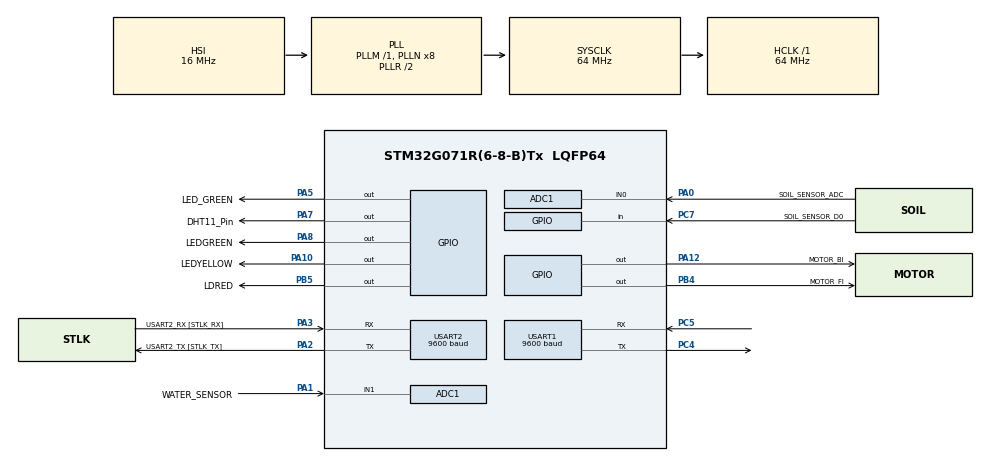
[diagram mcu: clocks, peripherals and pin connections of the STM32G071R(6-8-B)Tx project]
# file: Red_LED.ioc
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ADC1.Channel-0\#ChannelRegularConversion=ADC_CHANNEL_0
ADC1.Channel-1\#ChannelRegularConversion=ADC_CHANNEL_1
ADC1.ContinuousConvMode=ENABLE
ADC1.NbrOfConversion=2
ADC1.NbrOfConversionFlag=1
ADC1.Rank-0\#ChannelRegularConversion=1
ADC1.Rank-1\#ChannelRegularConversion=2
ADC1.SamplingTime-0\#ChannelRegularConversion=ADC_SAMPLINGTIME_COMMON_1
ADC1.SamplingTime-1\#ChannelRegularConversion=ADC_SAMPLINGTIME_COMMON_1
ADC1.SamplingTimeCommon1=ADC_SAMPLETIME_19CYCLES_5
ADC1.SamplingTimeCommon2=ADC_SAMPLETIME_19CYCLES_5
ADC1.SelectedChannel=ADC_CHANNEL_0|ADC_CHANNEL_1
ADC1.master=1
FREERTOS.BinarySemaphores01=DataReadySem,Dynamic,NULL,Available
FREERTOS.Mutexes01=DataMutex,Dynamic,NULL,Available;UARTMutex,Dynamic,NULL,Available
FREERTOS.Queues01=MsgQueue,5,100,1,Dynamic,NULL,NULL
FREERTOS.Tasks01=SenzoriTask,40,256,StartSenzoriTask,Default,NULL,Dynamic,NULL,NULL;ComTask,24,256,StartComTask,Default,NULL,Dynamic,NULL,NULL
FREERTOS.configTOTAL_HEAP_SIZE=4096
Mcu.Family=STM32G0
Mcu.Name=STM32G071R(6-8-B)Tx
Mcu.Package=LQFP64
PA0.GPIO_Label=SOIL_SENSOR_ADC
PA0.Mode=IN0
PA0.Signal=ADC1_IN0
PA1.GPIO_Label=WATER_SENSOR
PA1.Mode=IN1
PA1.Signal=ADC1_IN1
PA10.GPIO_Label=LEDYELLOW
PA10.GPIO_Speed=GPIO_SPEED_FREQ_MEDIUM
PA10.Signal=GPIO_Output
PA12\ [PA10].GPIO_Label=MOTOR_BI
PA12\ [PA10].Signal=GPIO_Output
PA13.GPIO_Label=TMS
PA13.Mode=Serial_Wire
PA13.Signal=SYS_SWDIO
PA14-BOOT0.GPIO_Label=TCK
PA14-BOOT0.Mode=Serial_Wire
PA14-BOOT0.Signal=SYS_SWCLK
PA2.GPIO_Label=USART2_TX [STLK_TX]
PA2.GPIO_PuPd=GPIO_PULLUP
PA2.Mode=Asynchronous
PA2.Signal=USART2_TX
PA3.GPIO_Label=USART2_RX [STLK_RX]
PA3.GPIO_PuPd=GPIO_PULLUP
PA3.Mode=Asynchronous
PA3.Signal=USART2_RX
PA5.GPIO_Label=LED_GREEN
PA5.GPIO_Speed=GPIO_SPEED_FREQ_HIGH
PA5.Signal=GPIO_Output
PA7.GPIO_Label=DHT11_Pin
PA7.Signal=GPIO_Output
PA8.GPIO_Label=LEDGREEN
PA8.GPIO_Speed=GPIO_SPEED_FREQ_MEDIUM
PA8.Signal=GPIO_Output
PB4.GPIO_Label=MOTOR_FI
PB4.Signal=GPIO_Output
PB5.GPIO_Label=LDRED
PB5.GPIO_Speed=GPIO_SPEED_FREQ_MEDIUM
PB5.Signal=GPIO_Output
PC13.Mode=SYS_WakeUp1
PC13.Signal=SYS_WKUP2
PC14-OSC32_IN\ (PC14).Signal=RCC_OSC32_IN
PC15-OSC32_OUT\ (PC15).Signal=RCC_OSC32_OUT
PC4.Mode=Asynchronous
PC4.Signal=USART1_TX
PC5.Mode=Asynchronous
PC5.Signal=USART1_RX
PC7.GPIO_Label=SOIL_SENSOR_D0
PC7.Signal=GPIO_Input
PF0-OSC_IN\ (PF0).GPIO_Label=MCO
PF0-OSC_IN\ (PF0).Mode=HSE-External-Oscillator
PF0-OSC_IN\ (PF0).Signal=RCC_OSC_IN
PF1-OSC_OUT\ (PF1).Mode=HSE-External-Oscillator
PF1-OSC_OUT\ (PF1).Signal=RCC_OSC_OUT
ProjectManager.HeapSize=0x200
ProjectManager.StackSize=0x400
ProjectManager.TargetToolchain=STM32CubeIDE
RCC.ADCFreq_Value=64000000
RCC.AHBFreq_Value=64000000
RCC.CortexFreq_Value=64000000
RCC.EXTERNAL_CLOCK_VALUE=12288000
RCC.HCLKFreq_Value=64000000
RCC.HSE_VALUE=8000000
RCC.HSI_VALUE=16000000
RCC.LSE_VALUE=32768
RCC.PLLQ=RCC_PLLQ_DIV4
RCC.SYSCLKFreq_VALUE=64000000
RCC.SYSCLKSource=RCC_SYSCLKSOURCE_PLLCLK
RCC.VCOOutputFreq_Value=128000000
TIM1.Prescaler=63
USART1.BaudRate=9600
USART1.VirtualMode-Asynchronous=VM_ASYNC
USART2.BaudRate=9600
USART2.VirtualMode-Asynchronous=VM_ASYNC
VP_FREERTOS_VS_CMSIS_V2.Mode=CMSIS_V2
VP_TIM1_VS_ClockSourceINT.Mode=Internal
board=NUCLEO-G071RB

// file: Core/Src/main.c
/* USER CODE BEGIN Header */
/**
  ******************************************************************************
  * @file           : main.c
  * @brief          : Main program body
  ******************************************************************************
  * @attention
  *
  * Copyright (c) 2025 STMicroelectronics.
  * All rights reserved.
  *
  * This software is licensed under terms that can be found in the LICENSE file
  * in the root directory of this software component.
  * If no LICENSE file comes with this software, it is provided AS-IS.
  *
  ******************************************************************************
  */
/* USER CODE END Header */
#include "main.h"
#include "cmsis_os.h"
#include <stdio.h>
#include <string.h>
#include <ctype.h>

ADC_HandleTypeDef hadc1;

TIM_HandleTypeDef htim1;

UART_HandleTypeDef huart1;
UART_HandleTypeDef huart2;

/* Definitions for SenzoriTask */
osThreadId_t SenzoriTaskHandle;
const osThreadAttr_t SenzoriTask_attributes = {
  .name = "SenzoriTask",
  .priority = (osPriority_t) osPriorityHigh,
  .stack_size = 256 * 4
};
/* Definitions for ComTask */
osThreadId_t ComTaskHandle;
const osThreadAttr_t ComTask_attributes = {
  .name = "ComTask",
  .priority = (osPriority_t) osPriorityNormal,
  .stack_size = 256 * 4
};
/* Definitions for MsgQueue */
osMessageQueueId_t MsgQueueHandle;
const osMessageQueueAttr_t MsgQueue_attributes = {
  .name = "MsgQueue"
};
/* Definitions for DataMutex */
osMutexId_t DataMutexHandle;
const osMutexAttr_t DataMutex_attributes = {
  .name = "DataMutex"
};
/* Definitions for UARTMutex */
osMutexId_t UARTMutexHandle;
const osMutexAttr_t UARTMutex_attributes = {
  .name = "UARTMutex"
};

osMutexId_t LogicMutexHandle;
const osMutexAttr_t LogicMutex_attributes = {
  .name = "LogicMutex"
};

/* Definitions for DataReadySem */
osSemaphoreId_t DataReadySemHandle;
const osSemaphoreAttr_t DataReadySem_attributes = {
  .name = "DataReadySem"
};

void SystemClock_Config(void);
static void MX_GPIO_Init(void);
static void MX_USART2_UART_Init(void);
static void MX_TIM1_Init(void);
static void MX_USART1_UART_Init(void);
static void MX_ADC1_Init(void);
void StartSenzoriTask(void *argument);
void StartComTask(void *argument);

/* USER CODE BEGIN 0 */

/* USER CODE BEGIN 0 */

#define DHT11_PORT GPIOA
#define DHT11_PIN  GPIO_PIN_7

uint8_t RHI, RHD, TCI, TCD, SUM;   // 1 BYTE x 5 = 5 BYTES
uint32_t pMillis, cMillis;  // 4 BYTES x 2 = 8 BYTES
float tCelsius = 0;  //4B
float tFahrenheit = 0; //4B
float RH = 0; //4B

void microDelay(uint16_t delay) {
  __HAL_TIM_SET_COUNTER(&htim1, 0);
  while (__HAL_TIM_GET_COUNTER(&htim1) < delay);
}

uint8_t DHT11_Start(void) {
  uint8_t Response = 0;
  GPIO_InitTypeDef GPIO_InitStruct = {0};

  GPIO_InitStruct.Pin = DHT11_PIN;
  GPIO_InitStruct.Mode = GPIO_MODE_OUTPUT_PP;
  GPIO_InitStruct.Speed = GPIO_SPEED_FREQ_LOW;
  GPIO_InitStruct.Pull = GPIO_NOPULL;
  HAL_GPIO_Init(DHT11_PORT, &GPIO_InitStruct);

  HAL_GPIO_WritePin(DHT11_PORT, DHT11_PIN, GPIO_PIN_RESET);
  HAL_Delay(20);
  HAL_GPIO_WritePin(DHT11_PORT, DHT11_PIN, GPIO_PIN_SET);
  microDelay(30);

  GPIO_InitStruct.Mode = GPIO_MODE_INPUT;
  GPIO_InitStruct.Pull = GPIO_PULLUP;
  HAL_GPIO_Init(DHT11_PORT, &GPIO_InitStruct);

  microDelay(40);
  if (!(HAL_GPIO_ReadPin(DHT11_PORT, DHT11_PIN))) {
    microDelay(80);
    if ((HAL_GPIO_ReadPin(DHT11_PORT, DHT11_PIN))) Response = 1;
  }

  pMillis = HAL_GetTick();
  cMillis = HAL_GetTick();
  while ((HAL_GPIO_ReadPin(DHT11_PORT, DHT11_PIN)) && pMillis + 2 > cMillis) {
    cMillis = HAL_GetTick();
  }
  return Response;
}

uint8_t DHT11_Read(void) {
  uint8_t a,b=0;
  for (a=0;a<8;a++) {
    pMillis = HAL_GetTick();
    cMillis = HAL_GetTick();
    while (!(HAL_GPIO_ReadPin(DHT11_PORT, DHT11_PIN)) && pMillis + 2 > cMillis) {
      cMillis = HAL_GetTick();
    }
    microDelay(40);
    if (!(HAL_GPIO_ReadPin(DHT11_PORT, DHT11_PIN)))
      b&= ~(1<<(7-a));
    else
      b|= (1<<(7-a));

    pMillis = HAL_GetTick();
    cMillis = HAL_GetTick();
    while ((HAL_GPIO_ReadPin(DHT11_PORT, DHT11_PIN)) && pMillis + 2 > cMillis) {
      cMillis = HAL_GetTick();
    }
  }
  return b;
}

void UART_SendAll(char *msg) {
    osMutexAcquire(UARTMutexHandle, osWaitForever);
    HAL_UART_Transmit(&huart2, (uint8_t*)msg, strlen(msg), HAL_MAX_DELAY);
    HAL_UART_Transmit(&huart1, (uint8_t*)msg, strlen(msg), HAL_MAX_DELAY);
    osMutexRelease(UARTMutexHandle);
}

void UART_SendBT(const char *msg) {
    osMutexAcquire(UARTMutexHandle, osWaitForever);
    HAL_UART_Transmit(&huart1, (uint8_t*)msg, strlen(msg), HAL_MAX_DELAY);
    osMutexRelease(UARTMutexHandle);
}

void UART_SendUSB(const char *msg) {
  osMutexAcquire(UARTMutexHandle, osWaitForever);
  HAL_UART_Transmit(&huart2, (uint8_t*)msg, strlen(msg), HAL_MAX_DELAY);
  osMutexRelease(UARTMutexHandle);
}

uint8_t Read_WaterSensor(void)
{
    return HAL_GPIO_ReadPin(WATER_SENSOR_GPIO_Port, WATER_SENSOR_Pin);
    // 0 = apa, 1 = nu apa
}

// ---------------- PROFILING ----------------

// Start time in microseconds
static inline uint16_t prof_start(void) {
    return __HAL_TIM_GET_COUNTER(&htim1);
}

// End time in microseconds
static inline uint16_t prof_end(uint16_t t0) {
    uint16_t t1 = __HAL_TIM_GET_COUNTER(&htim1);
    return (uint16_t)(t1 - t0);
}

// Debug
void debug_us(const char *label, uint32_t v)
{
    osMutexAcquire(UARTMutexHandle, osWaitForever);

    HAL_UART_Transmit(&huart2, (uint8_t*)label, strlen(label), HAL_MAX_DELAY);
    HAL_UART_Transmit(&huart2, (uint8_t*)": ", 2, HAL_MAX_DELAY);

    char buf[12];
    int i = 0;

    if (v == 0) buf[i++] = '0';
    else {
        while (v > 0 && i < sizeof(buf)-1) {
            buf[i++] = '0' + (v % 10);
            v /= 10;
        }
        for(int j = 0; j < i/2; j++){
            char t = buf[j];
            buf[j] = buf[i-1-j];
            buf[i-1-j] = t;
        }
    }

    HAL_UART_Transmit(&huart2, (uint8_t*)buf, i, HAL_MAX_DELAY);
    HAL_UART_Transmit(&huart2, (uint8_t*)" us\r\n", 5, HAL_MAX_DELAY);

    osMutexRelease(UARTMutexHandle);
}

/* USER CODE END 0 */

int main(void)
{

  /* MCU Configuration--------------------------------------------------------*/

  /* Reset of all peripherals, Initializes the Flash interface and the Systick. */
  HAL_Init();

  /* Configure the system clock */
  SystemClock_Config();

  /* Initialize all configured peripherals */
  MX_GPIO_Init();
  MX_USART2_UART_Init();
  MX_TIM1_Init();
  MX_USART1_UART_Init();
  MX_ADC1_Init();

  /* Init scheduler */
  osKernelInitialize();
  /* Create the mutex(es) */
  /* creation of DataMutex */
  DataMutexHandle = osMutexNew(&DataMutex_attributes);

  /* creation of UARTMutex */
  UARTMutexHandle = osMutexNew(&UARTMutex_attributes);

  LogicMutexHandle = osMutexNew(&LogicMutex_attributes);

  /* Create the semaphores(s) */
  /* creation of DataReadySem */
  DataReadySemHandle = osSemaphoreNew(1, 1, &DataReadySem_attributes);

  /* Create the queue(s) */
  /* creation of MsgQueue */
  MsgQueueHandle = osMessageQueueNew (5, 100, &MsgQueue_attributes);

  /* Create the thread(s) */
  /* creation of SenzoriTask */
  SenzoriTaskHandle = osThreadNew(StartSenzoriTask, NULL, &SenzoriTask_attributes);

  /* creation of ComTask */
  ComTaskHandle = osThreadNew(StartComTask, NULL, &ComTask_attributes);

  /* Start scheduler */
  osKernelStart();

  /* We should never get here as control is now taken by the scheduler */

  /* Infinite loop */
  while (1)
  {

  }
}

void SystemClock_Config(void)
{
  RCC_OscInitTypeDef RCC_OscInitStruct = {0};
  RCC_ClkInitTypeDef RCC_ClkInitStruct = {0};

  /** Configure the main internal regulator output voltage
  */
  HAL_PWREx_ControlVoltageScaling(PWR_REGULATOR_VOLTAGE_SCALE1);

  /** Initializes the RCC Oscillators according to the specified parameters
  * in the RCC_OscInitTypeDef structure.
  */
  RCC_OscInitStruct.OscillatorType = RCC_OSCILLATORTYPE_HSI;
  RCC_OscInitStruct.HSIState = RCC_HSI_ON;
  RCC_OscInitStruct.HSIDiv = RCC_HSI_DIV1;
  RCC_OscInitStruct.HSICalibrationValue = RCC_HSICALIBRATION_DEFAULT;
  RCC_OscInitStruct.PLL.PLLState = RCC_PLL_ON;
  RCC_OscInitStruct.PLL.PLLSource = RCC_PLLSOURCE_HSI;
  RCC_OscInitStruct.PLL.PLLM = RCC_PLLM_DIV1;
  RCC_OscInitStruct.PLL.PLLN = 8;
  RCC_OscInitStruct.PLL.PLLP = RCC_PLLP_DIV2;
  RCC_OscInitStruct.PLL.PLLQ = RCC_PLLQ_DIV4;
  RCC_OscInitStruct.PLL.PLLR = RCC_PLLR_DIV2;
  if (HAL_RCC_OscConfig(&RCC_OscInitStruct) != HAL_OK)
  {
    Error_Handler();
  }

  /** Initializes the CPU, AHB and APB buses clocks
  */
  RCC_ClkInitStruct.ClockType = RCC_CLOCKTYPE_HCLK|RCC_CLOCKTYPE_SYSCLK
                              |RCC_CLOCKTYPE_PCLK1;
  RCC_ClkInitStruct.SYSCLKSource = RCC_SYSCLKSOURCE_PLLCLK;
  RCC_ClkInitStruct.AHBCLKDivider = RCC_SYSCLK_DIV1;
  RCC_ClkInitStruct.APB1CLKDivider = RCC_HCLK_DIV1;

  if (HAL_RCC_ClockConfig(&RCC_ClkInitStruct, FLASH_LATENCY_2) != HAL_OK)
  {
    Error_Handler();
  }
}

static void MX_ADC1_Init(void)
{

  ADC_ChannelConfTypeDef sConfig = {0};

  /** Configure the global features of the ADC (Clock, Resolution, Data Alignment and number of conversion)
  */
  hadc1.Instance = ADC1;
  hadc1.Init.ClockPrescaler = ADC_CLOCK_SYNC_PCLK_DIV2;
  hadc1.Init.Resolution = ADC_RESOLUTION_12B;
  hadc1.Init.DataAlign = ADC_DATAALIGN_RIGHT;
  hadc1.Init.ScanConvMode = ADC_SCAN_ENABLE;
  hadc1.Init.EOCSelection = ADC_EOC_SINGLE_CONV;
  hadc1.Init.LowPowerAutoWait = DISABLE;
  hadc1.Init.LowPowerAutoPowerOff = DISABLE;
  hadc1.Init.ContinuousConvMode = ENABLE;
  hadc1.Init.NbrOfConversion = 2;
  hadc1.Init.ExternalTrigConv = ADC_SOFTWARE_START;
  hadc1.Init.ExternalTrigConvEdge = ADC_EXTERNALTRIGCONVEDGE_NONE;
  hadc1.Init.DMAContinuousRequests = DISABLE;
  hadc1.Init.Overrun = ADC_OVR_DATA_PRESERVED;
  hadc1.Init.SamplingTimeCommon1 = ADC_SAMPLETIME_19CYCLES_5;
  hadc1.Init.SamplingTimeCommon2 = ADC_SAMPLETIME_19CYCLES_5;
  hadc1.Init.OversamplingMode = DISABLE;
  hadc1.Init.TriggerFrequencyMode = ADC_TRIGGER_FREQ_HIGH;
  if (HAL_ADC_Init(&hadc1) != HAL_OK)
  {
    Error_Handler();
  }

  /** Configure Regular Channel
  */
  sConfig.Channel = ADC_CHANNEL_0;
  sConfig.Rank = ADC_REGULAR_RANK_1;
  sConfig.SamplingTime = ADC_SAMPLINGTIME_COMMON_1;
  if (HAL_ADC_ConfigChannel(&hadc1, &sConfig) != HAL_OK)
  {
    Error_Handler();
  }

  /** Configure Regular Channel
  */
  sConfig.Channel = ADC_CHANNEL_1;
  sConfig.Rank = ADC_REGULAR_RANK_2;
  if (HAL_ADC_ConfigChannel(&hadc1, &sConfig) != HAL_OK)
  {
    Error_Handler();
  }

}

static void MX_TIM1_Init(void)
{

  TIM_ClockConfigTypeDef sClockSourceConfig = {0};
  TIM_MasterConfigTypeDef sMasterConfig = {0};

  htim1.Instance = TIM1;
  htim1.Init.Prescaler = 63;
  htim1.Init.CounterMode = TIM_COUNTERMODE_UP;
  htim1.Init.Period = 65535;
  htim1.Init.ClockDivision = TIM_CLOCKDIVISION_DIV1;
  htim1.Init.RepetitionCounter = 0;
  htim1.Init.AutoReloadPreload = TIM_AUTORELOAD_PRELOAD_DISABLE;
  if (HAL_TIM_Base_Init(&htim1) != HAL_OK)
  {
    Error_Handler();
  }
  sClockSourceConfig.ClockSource = TIM_CLOCKSOURCE_INTERNAL;
  if (HAL_TIM_ConfigClockSource(&htim1, &sClockSourceConfig) != HAL_OK)
  {
    Error_Handler();
  }
  sMasterConfig.MasterOutputTrigger = TIM_TRGO_RESET;
  sMasterConfig.MasterOutputTrigger2 = TIM_TRGO2_RESET;
  sMasterConfig.MasterSlaveMode = TIM_MASTERSLAVEMODE_DISABLE;
  if (HAL_TIMEx_MasterConfigSynchronization(&htim1, &sMasterConfig) != HAL_OK)
  {
    Error_Handler();
  }

}

static void MX_USART1_UART_Init(void)
{

  huart1.Instance = USART1;
  huart1.Init.BaudRate = 9600;
  huart1.Init.WordLength = UART_WORDLENGTH_8B;
  huart1.Init.StopBits = UART_STOPBITS_1;
  huart1.Init.Parity = UART_PARITY_NONE;
  huart1.Init.Mode = UART_MODE_TX_RX;
  huart1.Init.HwFlowCtl = UART_HWCONTROL_NONE;
  huart1.Init.OverSampling = UART_OVERSAMPLING_16;
  huart1.Init.OneBitSampling = UART_ONE_BIT_SAMPLE_DISABLE;
  huart1.Init.ClockPrescaler = UART_PRESCALER_DIV1;
  huart1.AdvancedInit.AdvFeatureInit = UART_ADVFEATURE_NO_INIT;
  if (HAL_UART_Init(&huart1) != HAL_OK)
  {
    Error_Handler();
  }
  if (HAL_UARTEx_SetTxFifoThreshold(&huart1, UART_TXFIFO_THRESHOLD_1_8) != HAL_OK)
  {
    Error_Handler();
  }
  if (HAL_UARTEx_SetRxFifoThreshold(&huart1, UART_RXFIFO_THRESHOLD_1_8) != HAL_OK)
  {
    Error_Handler();
  }
  if (HAL_UARTEx_DisableFifoMode(&huart1) != HAL_OK)
  {
    Error_Handler();
  }

}

static void MX_USART2_UART_Init(void)
{

  huart2.Instance = USART2;
  huart2.Init.BaudRate = 9600;
  huart2.Init.WordLength = UART_WORDLENGTH_8B;
  huart2.Init.StopBits = UART_STOPBITS_1;
  huart2.Init.Parity = UART_PARITY_NONE;
  huart2.Init.Mode = UART_MODE_TX_RX;
  huart2.Init.HwFlowCtl = UART_HWCONTROL_NONE;
  huart2.Init.OverSampling = UART_OVERSAMPLING_16;
  huart2.Init.OneBitSampling = UART_ONE_BIT_SAMPLE_DISABLE;
  huart2.Init.ClockPrescaler = UART_PRESCALER_DIV1;
  huart2.AdvancedInit.AdvFeatureInit = UART_ADVFEATURE_NO_INIT;
  if (HAL_UART_Init(&huart2) != HAL_OK)
  {
    Error_Handler();
  }
  if (HAL_UARTEx_SetTxFifoThreshold(&huart2, UART_TXFIFO_THRESHOLD_1_8) != HAL_OK)
  {
    Error_Handler();
  }
  if (HAL_UARTEx_SetRxFifoThreshold(&huart2, UART_RXFIFO_THRESHOLD_1_8) != HAL_OK)
  {
    Error_Handler();
  }
  if (HAL_UARTEx_DisableFifoMode(&huart2) != HAL_OK)
  {
    Error_Handler();
  }

}

static void MX_GPIO_Init(void)
{
  GPIO_InitTypeDef GPIO_InitStruct = {0};

  /* GPIO Ports Clock Enable */
  __HAL_RCC_GPIOC_CLK_ENABLE();
  __HAL_RCC_GPIOF_CLK_ENABLE();
  __HAL_RCC_GPIOA_CLK_ENABLE();
  __HAL_RCC_GPIOB_CLK_ENABLE();

  /*Configure GPIO pin Output Level */
  HAL_GPIO_WritePin(GPIOA, LED_GREEN_Pin|DHT11_Pin_Pin|LEDGREEN_Pin|LEDYELLOW_Pin
                            |MOTOR_BI_Pin, GPIO_PIN_RESET);

  /*Configure GPIO pin Output Level */
  HAL_GPIO_WritePin(GPIOB, MOTOR_FI_Pin|LDRED_Pin, GPIO_PIN_RESET);

  /*Configure GPIO pin : LED_GREEN_Pin */
  GPIO_InitStruct.Pin = LED_GREEN_Pin;
  GPIO_InitStruct.Mode = GPIO_MODE_OUTPUT_PP;
  GPIO_InitStruct.Pull = GPIO_NOPULL;
  GPIO_InitStruct.Speed = GPIO_SPEED_FREQ_HIGH;
  HAL_GPIO_Init(LED_GREEN_GPIO_Port, &GPIO_InitStruct);

  /*Configure GPIO pin : DHT11_Pin_Pin */
  GPIO_InitStruct.Pin = DHT11_Pin_Pin;
  GPIO_InitStruct.Mode = GPIO_MODE_OUTPUT_PP;
  GPIO_InitStruct.Pull = GPIO_NOPULL;
  GPIO_InitStruct.Speed = GPIO_SPEED_FREQ_LOW;
  HAL_GPIO_Init(DHT11_Pin_GPIO_Port, &GPIO_InitStruct);

  /*Configure GPIO pins : LEDGREEN_Pin LEDYELLOW_Pin */
  GPIO_InitStruct.Pin = LEDGREEN_Pin|LEDYELLOW_Pin;
  GPIO_InitStruct.Mode = GPIO_MODE_OUTPUT_PP;
  GPIO_InitStruct.Pull = GPIO_NOPULL;
  GPIO_InitStruct.Speed = GPIO_SPEED_FREQ_MEDIUM;
  HAL_GPIO_Init(GPIOA, &GPIO_InitStruct);

  /*Configure GPIO pin : SOIL_SENSOR_D0_Pin */
  GPIO_InitStruct.Pin = SOIL_SENSOR_D0_Pin;
  GPIO_InitStruct.Mode = GPIO_MODE_INPUT;
  GPIO_InitStruct.Pull = GPIO_NOPULL;
  HAL_GPIO_Init(SOIL_SENSOR_D0_GPIO_Port, &GPIO_InitStruct);

  /*Configure GPIO pin : MOTOR_FI_Pin */
  GPIO_InitStruct.Pin = MOTOR_FI_Pin;
  GPIO_InitStruct.Mode = GPIO_MODE_OUTPUT_PP;
  GPIO_InitStruct.Pull = GPIO_NOPULL;
  GPIO_InitStruct.Speed = GPIO_SPEED_FREQ_LOW;
  HAL_GPIO_Init(MOTOR_FI_GPIO_Port, &GPIO_InitStruct);

  /*Configure GPIO pin : LDRED_Pin */
  GPIO_InitStruct.Pin = LDRED_Pin;
  GPIO_InitStruct.Mode = GPIO_MODE_OUTPUT_PP;
  GPIO_InitStruct.Pull = GPIO_NOPULL;
  GPIO_InitStruct.Speed = GPIO_SPEED_FREQ_MEDIUM;
  HAL_GPIO_Init(LDRED_GPIO_Port, &GPIO_InitStruct);

  /* USER CODE BEGIN MX_GPIO_Init_2 */
  /* USART1 GPIO Configuration
     PC4 -> USART1_TX
     PC5 -> USART1_RX
  */

  __HAL_RCC_GPIOC_CLK_ENABLE();

  GPIO_InitStruct.Pin = GPIO_PIN_4 | GPIO_PIN_5;
  GPIO_InitStruct.Mode = GPIO_MODE_AF_PP;
  GPIO_InitStruct.Pull = GPIO_PULLUP;
  GPIO_InitStruct.Speed = GPIO_SPEED_FREQ_LOW;
  GPIO_InitStruct.Alternate = GPIO_AF1_USART1;   // AF1 = USART1 pe STM32G071
  HAL_GPIO_Init(GPIOC, &GPIO_InitStruct);

  /* USER CODE END MX_GPIO_Init_2 */
}

/* USER CODE BEGIN 4 */

uint16_t Read_ADC_Channel(uint32_t channel)
{
    ADC_ChannelConfTypeDef sConfig = {0};
    sConfig.Channel = channel;
    sConfig.Rank = ADC_REGULAR_RANK_1;
    sConfig.SamplingTime = ADC_SAMPLINGTIME_COMMON_1;
    HAL_ADC_ConfigChannel(&hadc1, &sConfig);

    HAL_ADC_Start(&hadc1);
    HAL_ADC_PollForConversion(&hadc1, 100);
    uint16_t val = HAL_ADC_GetValue(&hadc1);
    HAL_ADC_Stop(&hadc1);

    return val;
}

typedef struct {
    float temp;
    float hum;
    uint16_t soil;
    uint16_t water;
    uint8_t water_ok;   // 0 = NU apa, 1 = DA apa
} SensorData_t;

SensorData_t data;

typedef struct {
    float last_temp;
    float last_hum;
    uint8_t pump_on;
    uint32_t pump_end_time;
    uint8_t led_green_state;
    uint8_t auto_mode;
    uint32_t last_water_time;
} SystemState_t;

SystemState_t sys = {0};

#define AUTO_WATER_INTERVAL  5000//10800000 // 3 ore in ms (3*60*60*1000)
#define SOIL_DRY_THRESHOLD   2400
#define SOIL_WET_THRESHOLD   1800
#define SOIL_NO_SENSOR       3800

/* USER CODE END 4 */

void StartSenzoriTask(void *argument)
{
    HAL_TIM_Base_Start(&htim1);

    for(;;)
    {
       //uint16_t T_task_start = prof_start();   // <-- profilare totala task

        SensorData_t local;

        /* ----------------- DHT11 ----------------- */
        //uint16_t T_dht_start = prof_start();

        if (DHT11_Start()) {
            uint8_t hi = DHT11_Read();
            uint8_t hd = DHT11_Read();
            uint8_t ti = DHT11_Read();
            uint8_t td = DHT11_Read();
            uint8_t cs = DHT11_Read();

            if((uint8_t)(hi + hd + ti + td) == cs)
            {
                osMutexAcquire(LogicMutexHandle, osWaitForever);
                sys.last_hum  = hi + hd/10.0f;
                sys.last_temp = ti + td/10.0f;
                osMutexRelease(LogicMutexHandle);
            }
        }

       //debug_us("DHT11 read", prof_end(T_dht_start));

        /* ----------------- copiez structura locala ----------------- */
        osMutexAcquire(LogicMutexHandle, osWaitForever);
        local.temp = sys.last_temp;
        local.hum  = sys.last_hum;
        osMutexRelease(LogicMutexHandle);

        /* ----------------- ADC ----------------- */
      // uint16_t T_adc_start = prof_start();

        local.soil  = Read_ADC_Channel(ADC_CHANNEL_0);
        local.water = Read_ADC_Channel(ADC_CHANNEL_1);
        local.water_ok = (local.water > 600);

       //debug_us("ADC read", prof_end(T_adc_start));

        /* ----------------- scriere globala ----------------- */
        osMutexAcquire(DataMutexHandle, osWaitForever);
        data = local;
        osMutexRelease(DataMutexHandle);

        osSemaphoreRelease(DataReadySemHandle);

        /* -----------------control pompa + AUTO ----------------- */
        osMutexAcquire(LogicMutexHandle, osWaitForever);

        // manual ON/OFF
        if(sys.pump_on)
        {
            HAL_GPIO_WritePin(MOTOR_FI_GPIO_Port, MOTOR_FI_Pin, GPIO_PIN_SET);
            if(HAL_GetTick() >= sys.pump_end_time)
            {
                sys.pump_on = 0;
                HAL_GPIO_WritePin(MOTOR_FI_GPIO_Port, MOTOR_FI_Pin, GPIO_PIN_RESET);
            }
        }
        else
        {
            HAL_GPIO_WritePin(MOTOR_FI_GPIO_Port, MOTOR_FI_Pin, GPIO_PIN_RESET);
        }

        /* ----------------- AUTO mode ----------------- */
        //uint16_t T_auto_start = prof_start();

        if(sys.auto_mode && local.water_ok &&
           local.soil > SOIL_DRY_THRESHOLD &&
           local.soil < SOIL_NO_SENSOR)
        {
            uint32_t now = HAL_GetTick();
            if(now - sys.last_water_time > AUTO_WATER_INTERVAL)
            {
                sys.pump_on = 1;
                sys.pump_end_time = HAL_GetTick() + 3000;
                sys.last_water_time = now;
            }
        }

        //debug_us("AUTO logic", prof_end(T_auto_start));

        osMutexRelease(LogicMutexHandle);

        /* ----------------- LED-uri ----------------- */
        if (!local.water_ok)
        {
            HAL_GPIO_WritePin(LDRED_GPIO_Port, LDRED_Pin, GPIO_PIN_SET);
            HAL_GPIO_WritePin(LEDYELLOW_GPIO_Port, LEDYELLOW_Pin, GPIO_PIN_RESET);
            HAL_GPIO_WritePin(LEDGREEN_GPIO_Port, LEDGREEN_Pin, GPIO_PIN_RESET);
        }
        else
        {
            HAL_GPIO_WritePin(LDRED_GPIO_Port, LDRED_Pin, GPIO_PIN_RESET);

            if (local.soil > SOIL_DRY_THRESHOLD)
            {
                HAL_GPIO_WritePin(LEDYELLOW_GPIO_Port, LEDYELLOW_Pin, GPIO_PIN_SET);
                HAL_GPIO_WritePin(LEDGREEN_GPIO_Port, LEDGREEN_Pin, GPIO_PIN_RESET);
            }
            else
            {
                HAL_GPIO_WritePin(LEDYELLOW_GPIO_Port, LEDYELLOW_Pin, GPIO_PIN_RESET);

                osMutexAcquire(LogicMutexHandle, osWaitForever);
                sys.led_green_state ^= 1;
                osMutexRelease(LogicMutexHandle);

                HAL_GPIO_WritePin(LEDGREEN_GPIO_Port, LEDGREEN_Pin,
                                  sys.led_green_state ? GPIO_PIN_SET : GPIO_PIN_RESET);
            }
        }

        /* ----------------- timp total executie ----------------- */
        //debug_us("SenzoriTask total", prof_end(T_task_start));

        osDelay(2000);
    }
}

void StartComTask(void *argument)
{
    char c;
    char cmd[20];
    uint8_t idx = 0;
    char msg[64];

    UART_SendBT("\r\n--- Sistem Udare Inteligenta ---\r\n");
    UART_SendBT("Comenzi:\r\n");
    UART_SendBT("  ON        - Porneste pompa 3 sec (daca exista apa)\r\n");
    UART_SendBT("  OFF       - Opreste pompa imediat\r\n");
    UART_SendBT("  STATUS    - Afiseaza valorile senzorilor\r\n");
    UART_SendBT("  AUTO=ON   - Porneste udarea automata\r\n");
    UART_SendBT("  AUTO=OFF  - Opreste udarea automata\r\n");
    UART_SendBT("---------------------------------\r\n\r\n");

    for(;;)
    {
        if(HAL_UART_Receive(&huart1, (uint8_t*)&c, 1, 10) == HAL_OK)
        {
            if(c == '\r' || c == '\n')
            {
                cmd[idx] = 0;
                idx = 0;
                if(cmd[0] == 0) continue;

                for(char *p = cmd; *p; p++) *p = toupper(*p);

                /* ---------------- ON ---------------- */
                if(strcmp(cmd, "ON") == 0)
                {
                 //  uint16_t t0 = prof_start();

                    SensorData_t d;
                    osMutexAcquire(DataMutexHandle, osWaitForever);
                    d = data;
                    osMutexRelease(DataMutexHandle);

                    if(!d.water_ok)
                    {
                        UART_SendBT("NU EXISTA APA!\r\n");
                    }
                    else
                    {
                        osMutexAcquire(LogicMutexHandle, osWaitForever);
                        sys.pump_on = 1;
                        sys.pump_end_time = HAL_GetTick() + 3000;
                        osMutexRelease(LogicMutexHandle);

                        UART_SendBT("Pompa pornita.\r\n");
                    }

                 //  debug_us("ON latency", prof_end(t0));
                    continue;
                }

                /* ---------------- OFF ---------------- */
                if(strcmp(cmd, "OFF") == 0)
                {
                   // uint16_t t0 = prof_start();

                    osMutexAcquire(LogicMutexHandle, osWaitForever);
                    sys.pump_on = 0;
                    sys.last_water_time = HAL_GetTick();
                    osMutexRelease(LogicMutexHandle);

                    HAL_GPIO_WritePin(MOTOR_FI_GPIO_Port, MOTOR_FI_Pin, GPIO_PIN_RESET);

                    UART_SendBT("Pompa oprita.\r\n");

                  //  debug_us("OFF latency", prof_end(t0));
                    continue;
                }

                /* ---------------- STATUS ---------------- */
                if(strcmp(cmd, "STATUS") == 0)
                {
                    //uint16_t t0 = prof_start();

                    osSemaphoreAcquire(DataReadySemHandle, osWaitForever);

                    SensorData_t d;
                    osMutexAcquire(DataMutexHandle, osWaitForever);
                    d = data;
                    osMutexRelease(DataMutexHandle);

                    char *soil_state;
                    if (d.soil > SOIL_NO_SENSOR) soil_state = "SCOS / AER";
                    else if (d.soil > SOIL_DRY_THRESHOLD) soil_state = "USCAT";
                    else if (d.soil > SOIL_WET_THRESHOLD) soil_state = "UMED";
                    else soil_state = "FOARTE UMED";

                    // mesaj mic, local transmis o singura data
                    sprintf(msg,
                        "Temp=%.1fC  Hum=%.1f%%\r\nSol=%u (%s)\r\nApa=%s\r\nAUTO=%s\r\n\r\n",
                        d.temp, d.hum, d.soil, soil_state,
                        d.water_ok ? "DA" : "NU",
                        sys.auto_mode ? "ON" : "OFF"
                    );

                    UART_SendBT(msg);

                   // debug_us("STATUS latency", prof_end(t0));
                    continue;
                }

                /* ---------------- AUTO ON ---------------- */
                if(strcmp(cmd, "AUTO=ON") == 0)
                {
                   // uint16_t t0 = prof_start();

                    osMutexAcquire(LogicMutexHandle, osWaitForever);
                    sys.auto_mode = 1;
                    osMutexRelease(LogicMutexHandle);

                    UART_SendBT("Mod automat ACTIV.\r\n");

                   // debug_us("AUTO=ON latency", prof_end(t0));
                    continue;
                }

                /* ---------------- AUTO OFF ---------------- */
                if(strcmp(cmd, "AUTO=OFF") == 0)
                {
                   // uint16_t t0 = prof_start();

                    osMutexAcquire(LogicMutexHandle, osWaitForever);
                    sys.auto_mode = 0;
                    osMutexRelease(LogicMutexHandle);

                    UART_SendBT("Mod automat OPRIT.\r\n");

                   // debug_us("AUTO=OFF latency", prof_end(t0));
                    continue;
                }

                /* ---------------- NECUNOSCUT ---------------- */
                UART_SendBT("Comanda necunoscuta!\r\n");
            }
            else if(idx < sizeof(cmd)-1)
                cmd[idx++] = c;
        }
    }
}

void Error_Handler(void)
{
  __disable_irq();
  while (1)
  {
  }
}
